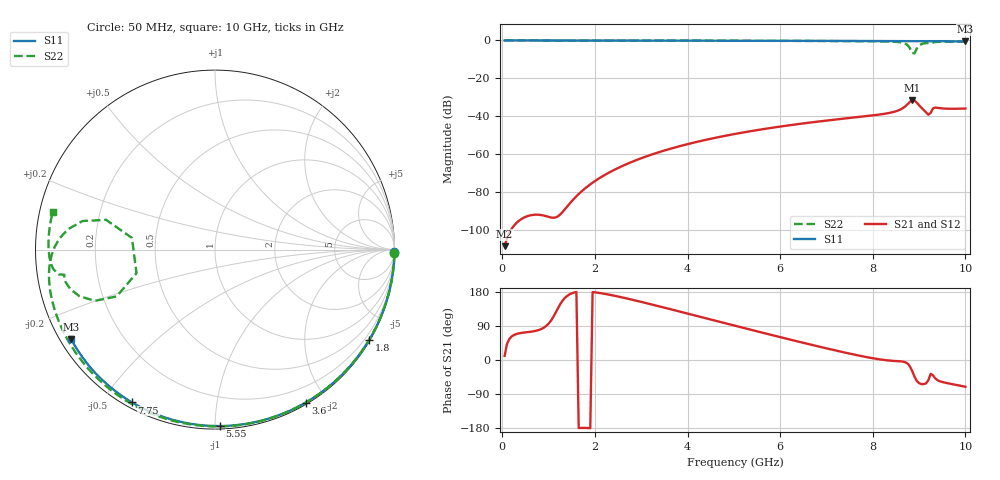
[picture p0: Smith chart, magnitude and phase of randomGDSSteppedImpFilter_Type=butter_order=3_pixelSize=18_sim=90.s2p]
! freq	dB(S11)	phase(S11)	dB(S12)	phase(S12)
!  dB(S21)	phase(S21)	dB(S22)	phase(S22)
!S-par simulation data
#  GHz  S  DB  R 50
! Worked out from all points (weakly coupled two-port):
!   200 points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, 50 MHz to 10 GHz, reference 50 ohm
!   highest |S21| = -31.51 dB at 8.85 GHz (marker M1); lowest = -108.4 dB at 50 MHz (marker M2)
!   lowest |S11| = -0.5 dB at 10 GHz (marker M3), VSWR 34.85, Z = 1.55 - j14.3 ohm
!   |S11| at or under -10 dB: nowhere
!   |S22| runs from -6.8 to 0.0 dB; largest |S21 - S12| = 0
!   S11 on the Smith chart (normalised r, x): 50 MHz: open; 1.8 GHz: 0.03, -3.67; 3.6 GHz: 0.02, -1.75; 5.55 GHz: 0.02, -1.03; 7.75 GHz: 0.02, -0.59; 10 GHz: 0.03, -0.29
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0.05  -0.00 -0.9  -108.45 10.8  -108.45 10.8  -0.00 -1.1
1.65  -0.04 -28.0  -80.94 -179.7  -80.94 -179.7  -0.05 -36.2
1.75  -0.04 -29.6  -78.75 -179.1  -78.75 -179.1  -0.05 -38.4
1.8  -0.04 -30.5  -77.74 -179.2  -77.74 -179.2  -0.05 -39.4
2.5  -0.05 -41.9  -67.23 167.5  -67.23 167.5  -0.07 -54.2
3.4  -0.07 -56.3  -58.77 141.3  -58.77 141.3  -0.10 -72.5
3.6  -0.08 -59.4  -57.29 135.1  -57.29 135.1  -0.10 -76.5
5.05  -0.13 -81.2  -49.16 89.6  -49.16 89.6  -0.16 -104.3
5.55  -0.15 -88.4  -47.07 74.1  -47.07 74.1  -0.19 -113.7
6.7  -0.20 -104.4  -43.12 39.4  -43.12 39.4  -0.27 -135.1
7.75  -0.27 -118.5  -40.20 10.4  -40.20 10.4  -0.38 -155.8
8.35  -0.32 -126.4  -38.25 -1.4  -38.25 -1.4  -0.56 -170.7
8.65  -0.35 -130.3  -35.66 -4.2  -35.66 -4.2  -1.22 175.9
8.8  -0.36 -132.3  -32.41 -16.4  -32.41 -16.4  -4.02 164.7
8.85  -0.37 -132.9  -31.51 -28.6  -31.51 -28.6  -6.61 172.0
8.9  -0.37 -133.6  -31.64 -43.5  -31.64 -43.5  -6.81 -163.3
8.95  -0.38 -134.3  -32.76 -55.1  -32.76 -55.1  -4.34 -154.5
9  -0.38 -134.9  -34.18 -61.2  -34.18 -61.2  -2.76 -156.9
9.1  -0.39 -136.3  -36.67 -63.7  -36.67 -63.7  -1.57 -164.7
9.2  -0.40 -137.6  -39.13 -53.3  -39.13 -53.3  -1.38 -170.0
9.35  -0.43 -139.5  -35.40 -48.7  -35.40 -48.7  -0.83 -173.3
10  -0.50 -148.1  -35.89 -70.5  -35.89 -70.5  -0.64 167.0
